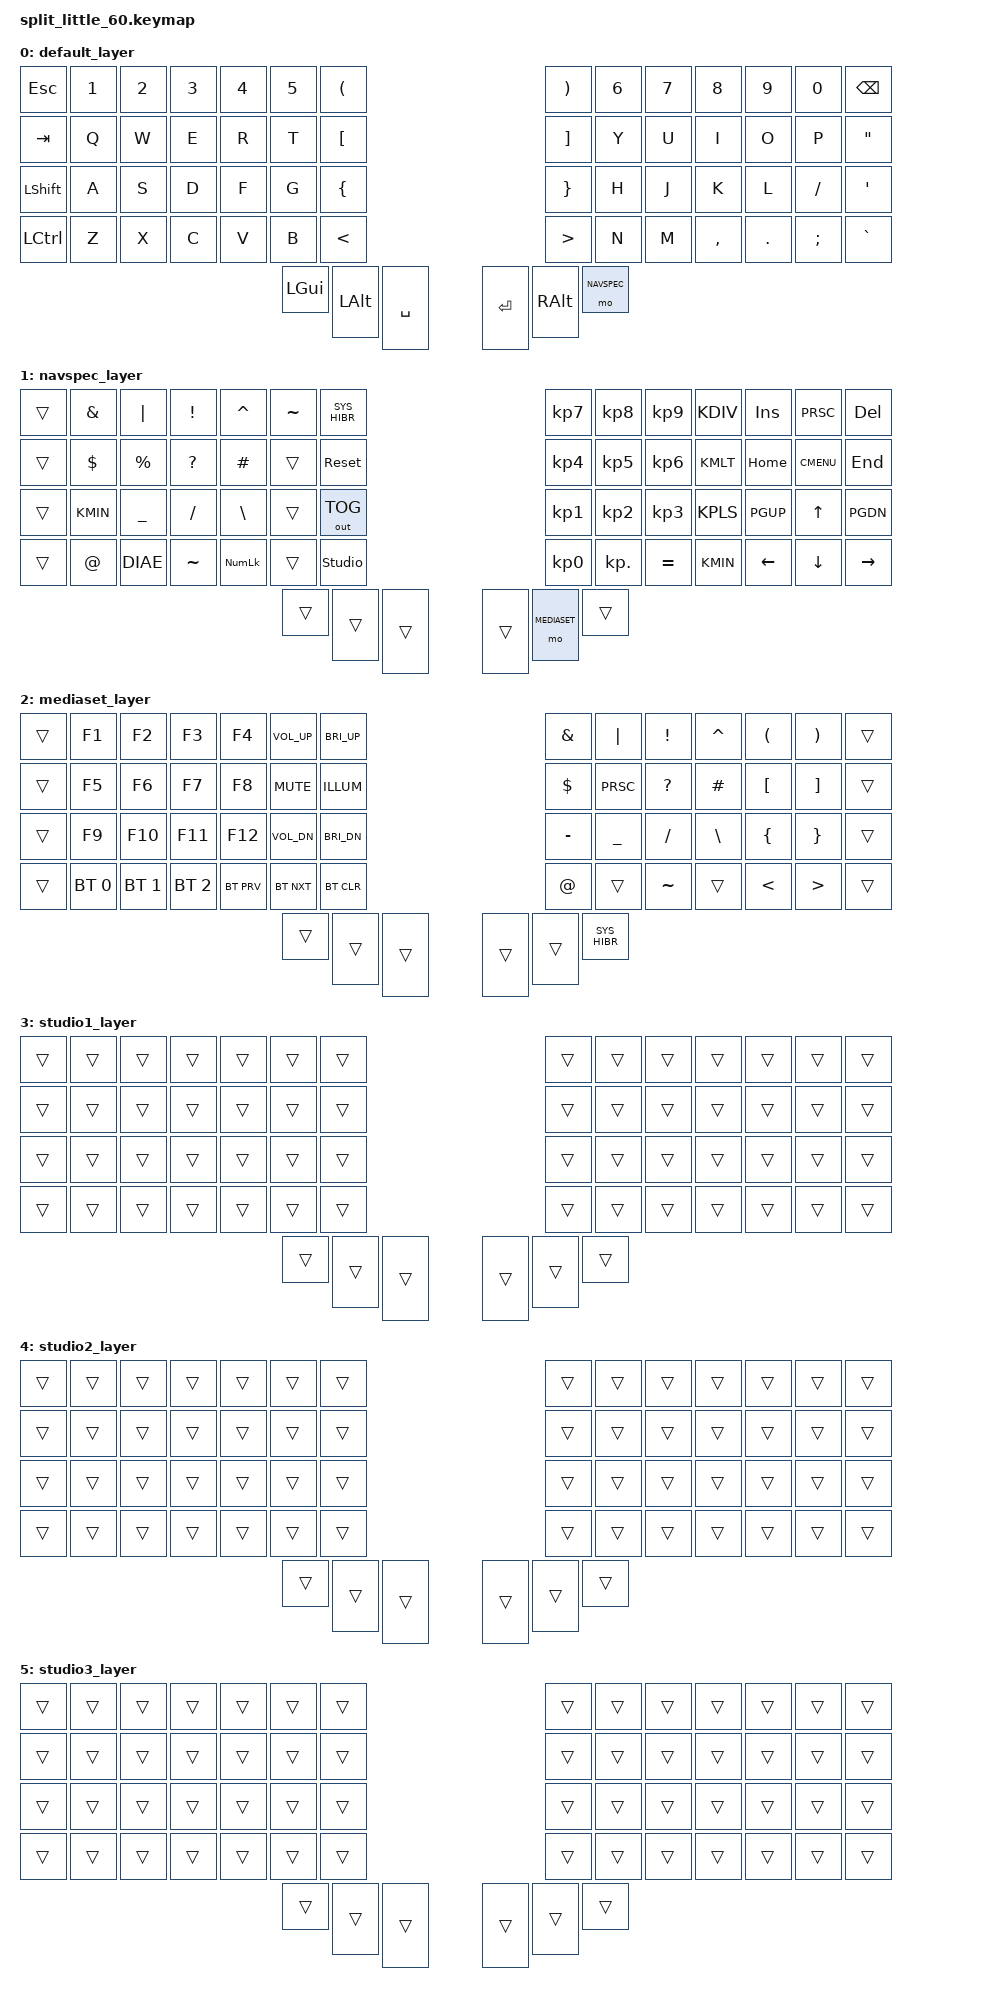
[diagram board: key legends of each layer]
/*
 * Copyright (c) 2024 Lorenzo Pastrana
 *
 * SPDX-License-Identifier: MIT
 */

#include <behaviors.dtsi>
#include <dt-bindings/zmk/keys.h>
#include <dt-bindings/zmk/bt.h>
#include <dt-bindings/zmk/ext_power.h>
#include <dt-bindings/zmk/outputs.h>

#define DEFALUT 0 // QWERTY
#define NAVSPEC 1 // NAV+NUMPAD+SPEC
#define MEDIASET 2 // FN+MEDIA
#define STUDIO1 3 // Empty
#define STUDIO2 4 // Empty
#define STUDIO3 5 // Empty

#include <dt-bindings/zmk/hid_usage.h>
#include <dt-bindings/zmk/hid_usage_pages.h>

/* System Hibernate */
#define SYSTEM_HIBERNATE (ZMK_HID_USAGE(HID_USAGE_GD, HID_USAGE_GD_SYSTEM_HIBERNATE))
#define SYS_HIBR (SYSTEM_HIBERNATE)

/* Illumination */
#define C_ILLUM (ZMK_HID_USAGE(HID_USAGE_CONSUMER, HID_USAGE_CONSUMER_ILLUMINATION))

/* DIERESIS */
#define DIAE (RA(DQT))


/ {
    keymap {
        compatible = "zmk,keymap";

        default_layer {
// ----------------------------------------------------|-        -|-------------------------------------------------------
// |  ESC   |  1  |  2  |  3   |  4   |  5    |   "("  |          |  ")"  |  6    |  7    |  8    |  9   |   0   | BSPC  |
// |  TAB   |  Q  |  W  |  E   |  R   |  T    |   "["  |          |  "]"  |  Y    |  U    |  I    |  O   |   P   |   "   |
// |  SHIFT |  A  |  S  |  D   |  F   |  G    |   "{"  |          |  "}"  |  H    |  J    |  K    |  L   |   /   |   '   |
// |  CTRL  |  Z  |  X  |  C   |  V   |  B    |   "<"  |          |  ">"  |  N    |  M    |  ,    |  .   |   ;   |   `   |
//                             | RGUI |  LALT |  SPACE |          | ENTER | RALT  | RAISE |
            bindings = <
&kp ESC   &kp N1 &kp N2 &kp N3 &kp N4   &kp N5   &kp LPRN          &kp RPRN &kp N6   &kp N7      &kp N8    &kp N9  &kp N0   &kp BSPC
&kp TAB   &kp Q  &kp W  &kp E  &kp R    &kp T    &kp LBKT          &kp RBKT &kp Y    &kp U       &kp I     &kp O   &kp P    &kp DQT
&kp LSHFT &kp A  &kp S  &kp D  &kp F    &kp G    &kp LBRC          &kp RBRC &kp H    &kp J       &kp K     &kp L   &kp FSLH &kp SQT
&kp LCTRL &kp Z  &kp X  &kp C  &kp V    &kp B    &kp LT            &kp GT   &kp N    &kp M       &kp COMMA &kp DOT &kp SEMI &kp GRAVE
                               &kp LGUI &kp LALT &kp SPACE         &kp RET  &kp RALT &mo NAVSPEC
			>;
        };

        navspec_layer {
// ---------------------------------------------------|-      -|----------------------------------------------------------
// |      |   &   |  "|"  |   !   |   ^   |  ~  | HIB |        |   7   |   8   |   9   |   /   |  INS  |  PRSC   |  DEL  |
// |      |   $   |   %   |   ?   |   #   |     | RST |        |   4   |   5   |   6   |   *   |  HOM  | K_CMENU |  END  |
// |      |   -   |   _   |   /   |   \   |     | OUT |        |   1   |   2   |   3   |   +   |   UP  |   ^     |  DN   |
// |      |   @   |   ¨   |   ~   | NUML  |     | STU |        |   0   |   .   |   =   |   -   |   <-  |   v     |  ->   |
//                                | MEDIASET |  |     |        |       |       |       |
            bindings = <
&trans  &kp AMPS   &kp PIPE  &kp EXCL  &kp CARET  &kp TILDE &kp SYS_HIBR        &kp KP_N7 &kp KP_N8    &kp KP_N9 &kp KDIV &kp INS  &kp PRSC    &kp DEL
&trans  &kp DOLLAR &kp PRCNT &kp QMARK &kp HASH   &trans    &sys_reset          &kp KP_N4 &kp KP_N5    &kp KP_N6 &kp KMLT &kp HOME &kp K_CMENU &kp END
&trans  &kp KMIN   &kp UNDER &kp FSLH  &kp BSLH   &trans    &out OUT_TOG        &kp KP_N1 &kp KP_N2    &kp KP_N3 &kp KPLS &kp PGUP &kp UP      &kp PGDN
&trans  &kp AT     &kp DIAE  &kp TILDE &kp KP_NUM &trans    &studio_unlock      &kp KP_N0 &kp KP_DOT   &kp EQUAL &kp KMIN &kp LEFT &kp DOWN    &kp RIGHT
                                       &trans     &trans    &trans              &trans    &mo MEDIASET &trans
            >;
        };

        mediaset_layer {
// -------------------------------------------------------------------|-   -|-------------------------------------------------------
// |      |   F1   |   F2   |   F3   |    F4    | C_VOL_UP | C_BRI_UP |     |   &   |  "|"  |   !   |   ^   |  (   |   )   |       |
// |      |   F5   |   F6   |   F7   |    F8    | C_MUTE   | C_ILLUM  |     |   $   |   %   |   ?   |   #   |  [   |   ]   |       |
// |      |   F9   |   F10  |   F11  |    F12   | C_VOL_DN | C_BRI_DN |     |   -   |   _   |   /   |   \   |  {   |   }   |       |
// |      |   BT1  |   BT2  |   BT3  |  BT_PRV  |  BT_NXT  |  BT_CLR  |     |   @   |   ¨   |   ~   |       |  <   |   >   |       |
//                                   |          |          |          |     |       |       |       |
            bindings = <
&trans  &kp F1       &kp F2       &kp F3       &kp F4     &kp C_VOL_UP &kp C_BRI_UP       &kp AMPS   &kp PIPE  &kp EXCL     &kp CARET &kp LPRN  &kp RPRN &trans
&trans  &kp F5       &kp F6       &kp F7       &kp F8     &kp C_MUTE   &kp C_ILLUM        &kp DOLLAR &kp PRSC  &kp QMARK    &kp HASH  &kp LBKT  &kp RBKT &trans
&trans  &kp F9       &kp F10      &kp F11      &kp F12    &kp C_VOL_DN &kp C_BRI_DN       &kp MINUS  &kp UNDER &kp FSLH     &kp BSLH  &kp LBRC  &kp RBRC &trans
&trans  &bt BT_SEL 0 &bt BT_SEL 1 &bt BT_SEL 2 &bt BT_PRV &bt BT_NXT   &bt BT_CLR         &kp AT     &trans    &kp TILDE    &trans    &kp LT    &kp GT   &trans
                                               &trans     &trans       &trans             &trans     &trans    &kp SYS_HIBR
			>;
        };

        studio1_layer {
            bindings = <
&trans &trans &trans &trans &trans &trans &trans        &trans &trans &trans &trans &trans &trans &trans
&trans &trans &trans &trans &trans &trans &trans        &trans &trans &trans &trans &trans &trans &trans
&trans &trans &trans &trans &trans &trans &trans        &trans &trans &trans &trans &trans &trans &trans
&trans &trans &trans &trans &trans &trans &trans        &trans &trans &trans &trans &trans &trans &trans
                            &trans &trans &trans        &trans &trans &trans
            >;
        };

        studio2_layer {
            bindings = <
&trans &trans &trans &trans &trans &trans &trans        &trans &trans &trans &trans &trans &trans &trans
&trans &trans &trans &trans &trans &trans &trans        &trans &trans &trans &trans &trans &trans &trans
&trans &trans &trans &trans &trans &trans &trans        &trans &trans &trans &trans &trans &trans &trans
&trans &trans &trans &trans &trans &trans &trans        &trans &trans &trans &trans &trans &trans &trans
                            &trans &trans &trans        &trans &trans &trans
            >;
        };

        studio3_layer {
            bindings = <
&trans &trans &trans &trans &trans &trans &trans        &trans &trans &trans &trans &trans &trans &trans
&trans &trans &trans &trans &trans &trans &trans        &trans &trans &trans &trans &trans &trans &trans
&trans &trans &trans &trans &trans &trans &trans        &trans &trans &trans &trans &trans &trans &trans
&trans &trans &trans &trans &trans &trans &trans        &trans &trans &trans &trans &trans &trans &trans
                            &trans &trans &trans        &trans &trans &trans
            >;
        };
	};
};
